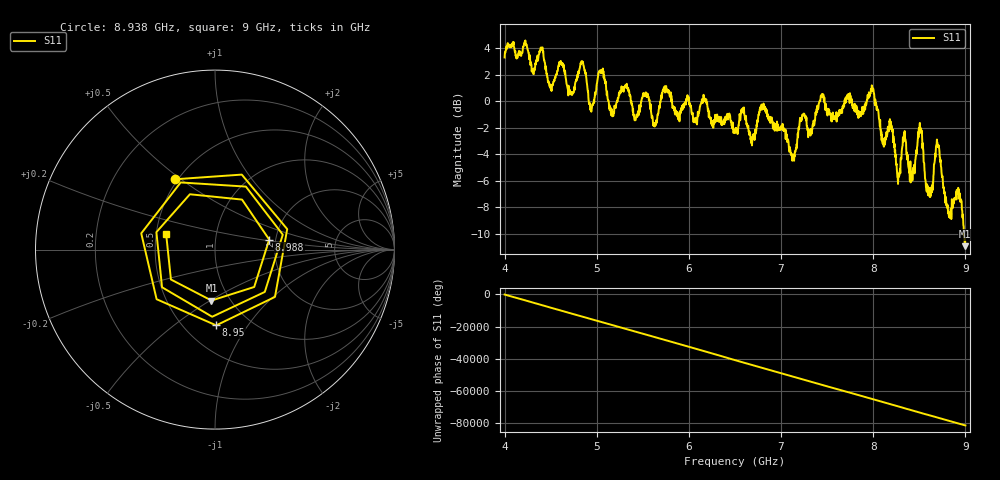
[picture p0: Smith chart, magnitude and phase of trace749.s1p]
! Created with skrf 1.8.0 (http://scikit-rf.org).
# Hz S RI R 50.0
!freq ReS11 ImS11
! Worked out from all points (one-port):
!   1601 points, 4 GHz to 9 GHz, reference 50 ohm
!   lowest |S11| = -10.9 dB at 8.994 GHz (marker M1), VSWR 1.79, Z = 41 - j25.3 ohm
!   |S11| at or under -10 dB: 8.984231 GHz to end of sweep
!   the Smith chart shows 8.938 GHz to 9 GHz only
!   S11 on the Smith chart (normalised r, x): 8.938 GHz: 0.48, +0.48; 8.95 GHz: 0.71, -0.72; 8.988 GHz: 1.85, +0.23; 9 GHz: 0.56, +0.11
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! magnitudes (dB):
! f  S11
! 4 GHz  3.3
! 4.5 GHz  1.1
! 4.625 GHz  2.9
! 4.725 GHz  0.7
! 4.847 GHz  2.9
! 4.941 GHz  -0.8
! 5.041 GHz  2.2
! 5.159 GHz  -0.9
! 5.25 GHz  0.8
! 5.875 GHz  -0.8
! 6.5 GHz  -2.4
! 6.8 GHz  -0.4
! 7.125 GHz  -4.0
! 7.434 GHz  0.4
! 7.75 GHz  0.4
! 7.988 GHz  1.1
! 8.269 GHz  -6.2
! 8.375 GHz  -4.0
! 8.431 GHz  -5.0
! 8.506 GHz  -1.6
! 8.594 GHz  -7.1
! 8.697 GHz  -3.1
! 8.822 GHz  -8.7
! 8.938 GHz  -6.9
! 8.95 GHz  -7.5
! 8.988 GHz  -10.3
! 8.994 GHz  -10.9
! 9 GHz  -10.9
